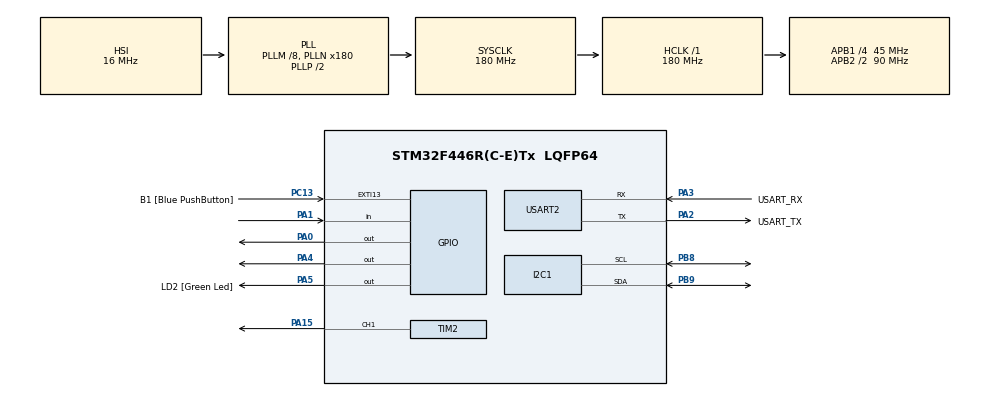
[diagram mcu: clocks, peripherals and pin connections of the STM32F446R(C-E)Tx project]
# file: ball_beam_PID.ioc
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Mcu.Family=STM32F4
Mcu.Name=STM32F446R(C-E)Tx
Mcu.Package=LQFP64
NVIC.PriorityGroup=NVIC_PRIORITYGROUP_0
PA0-WKUP.Signal=GPIO_Output
PA1.Signal=GPIO_Input
PA13.GPIO_Label=TMS
PA13.Mode=Serial_Wire
PA13.Signal=SYS_JTMS-SWDIO
PA14.GPIO_Label=TCK
PA14.Mode=Serial_Wire
PA14.Signal=SYS_JTCK-SWCLK
PA15.Signal=S_TIM2_CH1_ETR
PA2.GPIO_Label=USART_TX
PA2.Mode=Asynchronous
PA2.Signal=USART2_TX
PA3.GPIO_Label=USART_RX
PA3.Mode=Asynchronous
PA3.Signal=USART2_RX
PA4.Signal=GPIO_Output
PA5.GPIO_Label=LD2 [Green Led]
PA5.Signal=GPIO_Output
PB3.GPIO_Label=SWO
PB3.Signal=SYS_JTDO-SWO
PB8.GPIO_Pu=GPIO_NOPULL
PB8.Mode=I2C
PB8.Signal=I2C1_SCL
PB9.GPIO_Pu=GPIO_NOPULL
PB9.Mode=I2C
PB9.Signal=I2C1_SDA
PC13.GPIO_Label=B1 [Blue PushButton]
PC13.GPIO_ModeDefaultEXTI=GPIO_MODE_IT_FALLING
PC13.Signal=GPXTI13
PC14-OSC32_IN.Mode=LSE-External-Oscillator
PC14-OSC32_IN.Signal=RCC_OSC32_IN
PC15-OSC32_OUT.Mode=LSE-External-Oscillator
PC15-OSC32_OUT.Signal=RCC_OSC32_OUT
PH0-OSC_IN.Mode=HSE-External-Oscillator
PH0-OSC_IN.Signal=RCC_OSC_IN
PH1-OSC_OUT.Mode=HSE-External-Oscillator
PH1-OSC_OUT.Signal=RCC_OSC_OUT
ProjectManager.HeapSize=0x200
ProjectManager.StackSize=0x400
ProjectManager.TargetToolchain=STM32CubeIDE
RCC.48MHZClocksFreq_Value=84000000
RCC.AHBFreq_Value=180000000
RCC.APB1CLKDivider=RCC_HCLK_DIV4
RCC.APB1Freq_Value=45000000
RCC.APB1TimFreq_Value=90000000
RCC.APB2CLKDivider=RCC_HCLK_DIV2
RCC.APB2Freq_Value=90000000
RCC.APB2TimFreq_Value=180000000
RCC.CortexFreq_Value=180000000
RCC.FLatency-AdvancedSettings=FLASH_LATENCY_5
RCC.HCLKFreq_Value=180000000
RCC.HSE_VALUE=8000000
RCC.HSI_VALUE=16000000
RCC.PLLM=8
RCC.PLLN=180
RCC.SYSCLKFreq_VALUE=180000000
RCC.SYSCLKSource=RCC_SYSCLKSOURCE_PLLCLK
RCC.USBFreq_Value=180000000
RCC.VCOOutputFreq_Value=360000000
SH.S_TIM2_CH1_ETR.0=TIM2_CH1,PWM Generation1 CH1
TIM1.Prescaler=71
TIM2.Channel-PWM\ Generation1\ CH1=TIM_CHANNEL_1
TIM2.Period=10000-1
TIM2.Prescaler=180-1
USART2.VirtualMode=VM_ASYNC
VP_TIM1_VS_ClockSourceINT.Mode=Internal
VP_TIM2_VS_ClockSourceINT.Mode=Internal
board=NUCLEO-F446RE

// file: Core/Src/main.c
/* USER CODE BEGIN Header */
/**
  ******************************************************************************
  * @file           : main.c
  * @brief          : Main program body
  ******************************************************************************
  * @attention
  *
  * Copyright (c) 2025 STMicroelectronics.
  * All rights reserved.
  *
  * This software is licensed under terms that can be found in the LICENSE file
  * in the root directory of this software component.
  * If no LICENSE file comes with this software, it is provided AS-IS.
  *
  ******************************************************************************
  */
/* USER CODE END Header */
#include "main.h"

/* USER CODE BEGIN Includes */
#include "stdio.h"
#include "stdlib.h"
#include "VL53L1X_calibration.h"
#include "VL53L1X_api.h"

/* USER CODE END Includes */

/* USER CODE BEGIN PD */
#define kp 0.3
#define ki 0.001
#define kd 150.0 // these are the PID constants
/* USER CODE END PD */

I2C_HandleTypeDef hi2c1;

TIM_HandleTypeDef htim1;
TIM_HandleTypeDef htim2;

UART_HandleTypeDef huart2;

/* USER CODE BEGIN PV */

float pulse_width; // servo motor signal

// variables for PID function
float pid_p, pid_i, prev_pid_i, pid_d, prev_pid_d, pid_total;
float error; // distance away from setpoint
float prev_error;
float setpoint = 280; // the distance away from sensor to keep the ball at (in mm)

// variables for the VL53L1
uint8_t byteData, sensorState=0;
uint16_t wordData;
uint8_t ToFSensor = 1; // 0=Left, 1=Center(default), 2=Right
uint16_t distance;
uint16_t prev_distance;
uint16_t SignalRate;
uint16_t AmbientRate;
uint16_t SpadNum;
uint8_t rangeStatus;
uint8_t dataReady;

/* USER CODE END PV */

void SystemClock_Config(void);
static void MX_GPIO_Init(void);
static void MX_USART2_UART_Init(void);
static void MX_TIM1_Init(void);
static void MX_TIM2_Init(void);
static void MX_I2C1_Init(void);

/* USER CODE BEGIN 0 */
void move_servo(uint32_t num) {
    if (num > 100) num = 150; // upper clamp, this will tilt towards the servo side
    if (num < 0) num = 0; //lower clamp, this will tilt towards the sensor side
    pulse_width = 700 + ((uint32_t)num * 550) / 100;
    __HAL_TIM_SET_COMPARE(&htim2, TIM_CHANNEL_1, pulse_width);
}

void pid(void){
	error = setpoint - distance;
	prev_error = setpoint - prev_distance;

	// filter for noise
	error = (0.53 * error) + (0.47 * prev_error);

	// calculate propotional part
	pid_p = kp * error;

	// capping the effect of proportional part
	if(pid_p > 25) pid_p = 25;
	if(pid_p < -25) pid_p = -25;

	// calculate derivative part
	pid_d = kd/50.0 * (error - prev_error); // time is in ms
	// filter for noise
	pid_d = (0.55 * pid_d) + (0.45 * prev_pid_d);

	// calculate integral part
	pid_i = pid_i + ki * error;
	// filter for noise
	pid_i = (0.55 * pid_i) + (0.45 * prev_pid_i);

	// sum all parts to get output
	pid_total = pid_p + pid_d + pid_i;

	// reduce effect when close to the setpoint
	if(error < 10){
				pid_total /= 3.0;
				pid_i = 0;
			}

	// set a max range for pid control (due to servo limits)
	if(pid_total > 25){
		pid_total = 25;
	}

	// update the previous values
	prev_pid_d = pid_d;
	prev_pid_i = pid_i;
}
/* USER CODE END 0 */

int main(void)
{

  /* MCU Configuration--------------------------------------------------------*/

  /* Reset of all peripherals, Initializes the Flash interface and the Systick. */
  HAL_Init();

  /* Configure the system clock */
  SystemClock_Config();

  /* Initialize all configured peripherals */
  MX_GPIO_Init();
  MX_USART2_UART_Init();
  MX_TIM1_Init();
  MX_TIM2_Init();
  MX_I2C1_Init();
  /* USER CODE BEGIN 2 */
  HAL_TIM_PWM_Start(&htim2, TIM_CHANNEL_1);

  uint16_t Dev = 0x52; // needed for VL53L1X functions

  while(sensorState==0){
  		VL53L1X_BootState(Dev, &sensorState);
  	HAL_Delay(2);
    }

  VL53L1X_SensorInit(Dev); // initialize
  VL53L1X_SetROI(Dev, 4, 4); // set region of interest (4, 4 is the smallest ROI)
  VL53L1X_SetDistanceMode(Dev, 2); // set mode 1 = Long, 2 = Short
  VL53L1X_SetTimingBudgetInMs(Dev, 33); // set how long it takes to measure (ms)
  VL53L1X_SetInterMeasurementInMs(Dev, 50); // set time between readings (ms)
  VL53L1X_StartRanging(Dev); // start getting measurements

  /* USER CODE END 2 */

  /* Infinite loop */
  /* USER CODE BEGIN WHILE */
  while (1)
    {

	  while (dataReady == 0){ // wait for data to be ready
	  		  VL53L1X_CheckForDataReady(Dev, &dataReady);
	  		  HAL_Delay(2);
	  	  }
	  dataReady = 0;

	  VL53L1X_GetDistance(Dev, &distance); // store the data into variable
	  VL53L1X_ClearInterrupt(Dev);

	  pid(); // send data into PID function
	  move_servo(75 + pid_total); // move servo according to PID output
	  prev_distance = distance;

    /* USER CODE END WHILE */

    }
}

void SystemClock_Config(void)
{
  RCC_OscInitTypeDef RCC_OscInitStruct = {0};
  RCC_ClkInitTypeDef RCC_ClkInitStruct = {0};

  /** Configure the main internal regulator output voltage
  */
  __HAL_RCC_PWR_CLK_ENABLE();
  __HAL_PWR_VOLTAGESCALING_CONFIG(PWR_REGULATOR_VOLTAGE_SCALE1);

  /** Initializes the RCC Oscillators according to the specified parameters
  * in the RCC_OscInitTypeDef structure.
  */
  RCC_OscInitStruct.OscillatorType = RCC_OSCILLATORTYPE_HSI;
  RCC_OscInitStruct.HSIState = RCC_HSI_ON;
  RCC_OscInitStruct.HSICalibrationValue = RCC_HSICALIBRATION_DEFAULT;
  RCC_OscInitStruct.PLL.PLLState = RCC_PLL_ON;
  RCC_OscInitStruct.PLL.PLLSource = RCC_PLLSOURCE_HSI;
  RCC_OscInitStruct.PLL.PLLM = 8;
  RCC_OscInitStruct.PLL.PLLN = 180;
  RCC_OscInitStruct.PLL.PLLP = RCC_PLLP_DIV2;
  RCC_OscInitStruct.PLL.PLLQ = 2;
  RCC_OscInitStruct.PLL.PLLR = 2;
  if (HAL_RCC_OscConfig(&RCC_OscInitStruct) != HAL_OK)
  {
    Error_Handler();
  }

  /** Activate the Over-Drive mode
  */
  if (HAL_PWREx_EnableOverDrive() != HAL_OK)
  {
    Error_Handler();
  }

  /** Initializes the CPU, AHB and APB buses clocks
  */
  RCC_ClkInitStruct.ClockType = RCC_CLOCKTYPE_HCLK|RCC_CLOCKTYPE_SYSCLK
                              |RCC_CLOCKTYPE_PCLK1|RCC_CLOCKTYPE_PCLK2;
  RCC_ClkInitStruct.SYSCLKSource = RCC_SYSCLKSOURCE_PLLCLK;
  RCC_ClkInitStruct.AHBCLKDivider = RCC_SYSCLK_DIV1;
  RCC_ClkInitStruct.APB1CLKDivider = RCC_HCLK_DIV4;
  RCC_ClkInitStruct.APB2CLKDivider = RCC_HCLK_DIV2;

  if (HAL_RCC_ClockConfig(&RCC_ClkInitStruct, FLASH_LATENCY_5) != HAL_OK)
  {
    Error_Handler();
  }
}

static void MX_I2C1_Init(void)
{

  hi2c1.Instance = I2C1;
  hi2c1.Init.ClockSpeed = 100000;
  hi2c1.Init.DutyCycle = I2C_DUTYCYCLE_2;
  hi2c1.Init.OwnAddress1 = 0;
  hi2c1.Init.AddressingMode = I2C_ADDRESSINGMODE_7BIT;
  hi2c1.Init.DualAddressMode = I2C_DUALADDRESS_DISABLE;
  hi2c1.Init.OwnAddress2 = 0;
  hi2c1.Init.GeneralCallMode = I2C_GENERALCALL_DISABLE;
  hi2c1.Init.NoStretchMode = I2C_NOSTRETCH_DISABLE;
  if (HAL_I2C_Init(&hi2c1) != HAL_OK)
  {
    Error_Handler();
  }

}

static void MX_TIM1_Init(void)
{

  TIM_ClockConfigTypeDef sClockSourceConfig = {0};
  TIM_MasterConfigTypeDef sMasterConfig = {0};

  htim1.Instance = TIM1;
  htim1.Init.Prescaler = 71;
  htim1.Init.CounterMode = TIM_COUNTERMODE_UP;
  htim1.Init.Period = 65535;
  htim1.Init.ClockDivision = TIM_CLOCKDIVISION_DIV1;
  htim1.Init.RepetitionCounter = 0;
  htim1.Init.AutoReloadPreload = TIM_AUTORELOAD_PRELOAD_DISABLE;
  if (HAL_TIM_Base_Init(&htim1) != HAL_OK)
  {
    Error_Handler();
  }
  sClockSourceConfig.ClockSource = TIM_CLOCKSOURCE_INTERNAL;
  if (HAL_TIM_ConfigClockSource(&htim1, &sClockSourceConfig) != HAL_OK)
  {
    Error_Handler();
  }
  sMasterConfig.MasterOutputTrigger = TIM_TRGO_RESET;
  sMasterConfig.MasterSlaveMode = TIM_MASTERSLAVEMODE_DISABLE;
  if (HAL_TIMEx_MasterConfigSynchronization(&htim1, &sMasterConfig) != HAL_OK)
  {
    Error_Handler();
  }

}

static void MX_TIM2_Init(void)
{

  TIM_ClockConfigTypeDef sClockSourceConfig = {0};
  TIM_MasterConfigTypeDef sMasterConfig = {0};
  TIM_OC_InitTypeDef sConfigOC = {0};

  htim2.Instance = TIM2;
  htim2.Init.Prescaler = 180-1;
  htim2.Init.CounterMode = TIM_COUNTERMODE_UP;
  htim2.Init.Period = 10000-1;
  htim2.Init.ClockDivision = TIM_CLOCKDIVISION_DIV1;
  htim2.Init.AutoReloadPreload = TIM_AUTORELOAD_PRELOAD_DISABLE;
  if (HAL_TIM_Base_Init(&htim2) != HAL_OK)
  {
    Error_Handler();
  }
  sClockSourceConfig.ClockSource = TIM_CLOCKSOURCE_INTERNAL;
  if (HAL_TIM_ConfigClockSource(&htim2, &sClockSourceConfig) != HAL_OK)
  {
    Error_Handler();
  }
  if (HAL_TIM_PWM_Init(&htim2) != HAL_OK)
  {
    Error_Handler();
  }
  sMasterConfig.MasterOutputTrigger = TIM_TRGO_RESET;
  sMasterConfig.MasterSlaveMode = TIM_MASTERSLAVEMODE_DISABLE;
  if (HAL_TIMEx_MasterConfigSynchronization(&htim2, &sMasterConfig) != HAL_OK)
  {
    Error_Handler();
  }
  sConfigOC.OCMode = TIM_OCMODE_PWM1;
  sConfigOC.Pulse = 0;
  sConfigOC.OCPolarity = TIM_OCPOLARITY_HIGH;
  sConfigOC.OCFastMode = TIM_OCFAST_DISABLE;
  if (HAL_TIM_PWM_ConfigChannel(&htim2, &sConfigOC, TIM_CHANNEL_1) != HAL_OK)
  {
    Error_Handler();
  }
  HAL_TIM_MspPostInit(&htim2);

}

static void MX_USART2_UART_Init(void)
{

  huart2.Instance = USART2;
  huart2.Init.BaudRate = 115200;
  huart2.Init.WordLength = UART_WORDLENGTH_8B;
  huart2.Init.StopBits = UART_STOPBITS_1;
  huart2.Init.Parity = UART_PARITY_NONE;
  huart2.Init.Mode = UART_MODE_TX_RX;
  huart2.Init.HwFlowCtl = UART_HWCONTROL_NONE;
  huart2.Init.OverSampling = UART_OVERSAMPLING_16;
  if (HAL_UART_Init(&huart2) != HAL_OK)
  {
    Error_Handler();
  }

}

static void MX_GPIO_Init(void)
{
  GPIO_InitTypeDef GPIO_InitStruct = {0};

  /* GPIO Ports Clock Enable */
  __HAL_RCC_GPIOC_CLK_ENABLE();
  __HAL_RCC_GPIOH_CLK_ENABLE();
  __HAL_RCC_GPIOA_CLK_ENABLE();
  __HAL_RCC_GPIOB_CLK_ENABLE();

  /*Configure GPIO pin Output Level */
  HAL_GPIO_WritePin(GPIOA, GPIO_PIN_0|GPIO_PIN_4|LD2_Pin, GPIO_PIN_RESET);

  /*Configure GPIO pin : B1_Pin */
  GPIO_InitStruct.Pin = B1_Pin;
  GPIO_InitStruct.Mode = GPIO_MODE_IT_FALLING;
  GPIO_InitStruct.Pull = GPIO_NOPULL;
  HAL_GPIO_Init(B1_GPIO_Port, &GPIO_InitStruct);

  /*Configure GPIO pins : PA0 PA4 LD2_Pin */
  GPIO_InitStruct.Pin = GPIO_PIN_0|GPIO_PIN_4|LD2_Pin;
  GPIO_InitStruct.Mode = GPIO_MODE_OUTPUT_PP;
  GPIO_InitStruct.Pull = GPIO_NOPULL;
  GPIO_InitStruct.Speed = GPIO_SPEED_FREQ_LOW;
  HAL_GPIO_Init(GPIOA, &GPIO_InitStruct);

  /*Configure GPIO pin : PA1 */
  GPIO_InitStruct.Pin = GPIO_PIN_1;
  GPIO_InitStruct.Mode = GPIO_MODE_INPUT;
  GPIO_InitStruct.Pull = GPIO_NOPULL;
  HAL_GPIO_Init(GPIOA, &GPIO_InitStruct);

}

void Error_Handler(void)
{
  __disable_irq();
  while (1)
  {
  }
}
